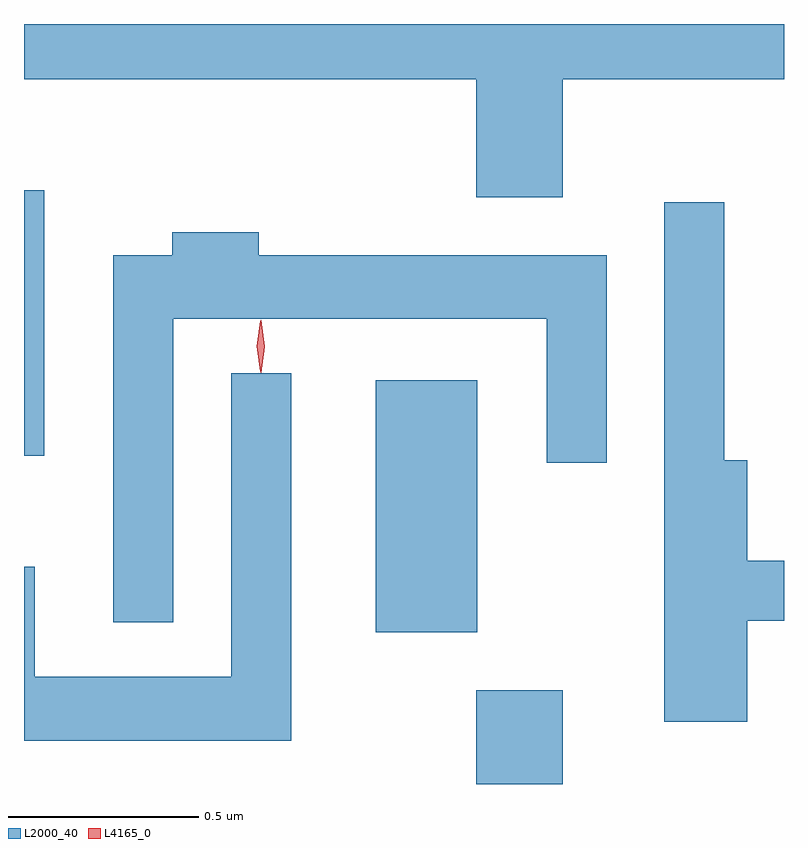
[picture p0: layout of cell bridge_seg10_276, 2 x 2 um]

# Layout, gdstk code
import gdstk
lib = gdstk.Library(unit=1e-6, precision=1e-09)
def R(c, l, rs):  # rectangles x0, y0, x1, y1
    for r in rs: c.add(gdstk.rectangle(r[:2], r[2:], *l))
def P(c, l, *ps):  # polygons
    for p in ps: c.add(gdstk.Polygon(p, *l))
L2000_40 = (2000, 40)
L4165_0 = (4165, 0)

bridge_seg10_276 = lib.new_cell('bridge_seg10_276')
R(bridge_seg10_276, L2000_40, [(1734.001,2100.962,1734.229,2101.209), (1733.736,2101.361,1734.004,2102.024), (1732.811,2101.826,1732.864,2102.524)])
P(bridge_seg10_276, L2000_40, [(1734.229,2102.816),(1734.811,2102.816),(1734.811,2102.962),(1732.811,2102.962),(1732.811,2102.816),(1734.001,2102.816),(1734.001,2102.506),(1734.229,2102.506)],
  [(1734.714,2101.391),(1734.811,2101.391),(1734.811,2101.549),(1734.714,2101.549),(1734.714,2101.814),(1734.654,2101.814),(1734.654,2102.493),(1734.496,2102.493),(1734.496,2101.126),(1734.714,2101.126)],
  [(1733.204,2102.186),(1734.186,2102.186),(1734.186,2101.808),(1734.344,2101.808),(1734.344,2102.354),(1733.429,2102.354),(1733.429,2102.414),(1733.201,2102.414),(1733.201,2102.354),(1733.046,2102.354),(1733.046,2101.388),(1733.204,2101.388)],
  [(1733.514,2102.043),(1733.356,2102.043),(1733.356,2101.244),(1732.839,2101.244),(1732.839,2101.534),(1732.811,2101.534),(1732.811,2101.076),(1733.514,2101.076)])
P(bridge_seg10_276, L4165_0, [(1733.434,2102.047),(1733.433,2102.048),(1733.424,2102.114),(1733.433,2102.18),(1733.434,2102.181),(1733.434,2102.18),(1733.444,2102.114),(1733.434,2102.048)],
  [(1733.434,2102.044),(1733.425,2102.113),(1733.434,2102.182),(1733.435,2102.183),(1733.435,2102.182),(1733.445,2102.113),(1733.435,2102.044),(1733.435,2102.044)])

lib.write_gds('bridge_seg10_276.gds')
